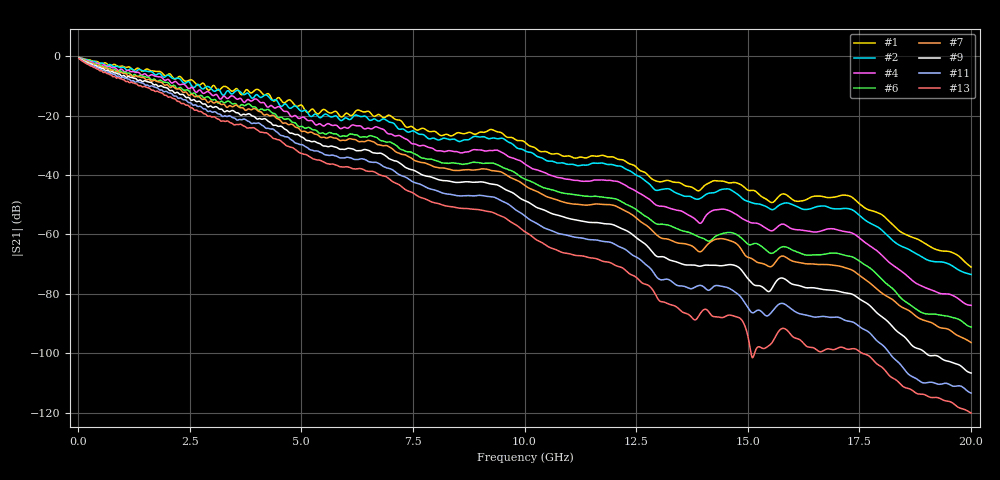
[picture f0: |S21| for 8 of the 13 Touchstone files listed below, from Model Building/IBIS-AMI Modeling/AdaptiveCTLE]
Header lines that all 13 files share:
# hz S ma R 100
! 2 Port Network Data from SP1.SP block
! freq  magS11  angS11  magS21  angS21  magS12  angS12  magS22  angS22
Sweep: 20 MHz to 20 GHz
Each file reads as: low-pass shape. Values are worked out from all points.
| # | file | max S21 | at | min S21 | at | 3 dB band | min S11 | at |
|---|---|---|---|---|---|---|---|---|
| 1 | Channel_1.s2p | -0.38 dB | 20 MHz | -71.0 dB | 20 GHz | 20 MHz-880 MHz | -35.6 dB | 14.84 GHz |
| 2 | Channel_2.s2p | -0.42 dB | 20 MHz | -73.5 dB | 20 GHz | 20 MHz-780 MHz | -44.5 dB | 14.5 GHz |
| 3 | Channel_3.s2p | -0.45 dB | 20 MHz | -80.4 dB | 20 GHz | 20 MHz-700 MHz | -42.3 dB | 3.18 GHz |
| 4 | Channel_4.s2p | -0.48 dB | 20 MHz | -83.9 dB | 20 GHz | 20 MHz-620 MHz | -40.8 dB | 300 MHz |
| 5 | Channel_5.s2p | -0.51 dB | 20 MHz | -87.5 dB | 20 GHz | 20 MHz-580 MHz | -44.0 dB | 10.52 GHz |
| 6 | Channel_6.s2p | -0.54 dB | 20 MHz | -91.2 dB | 20 GHz | 20 MHz-520 MHz | -46.1 dB | 13.24 GHz |
| 7 | Channel_7.s2p | -0.57 dB | 20 MHz | -96.4 dB | 20 GHz | 20 MHz-480 MHz | -52.8 dB | 11.6 GHz |
| 8 | Channel_8.s2p | -0.60 dB | 20 MHz | -100.3 dB | 20 GHz | 20 MHz-460 MHz | -39.4 dB | 10.76 GHz |
| 9 | Channel_9.s2p | -0.64 dB | 20 MHz | -106.7 dB | 20 GHz | 20 MHz-420 MHz | -47.1 dB | 11.24 GHz |
| 10 | Channel_10.s2p | -0.67 dB | 20 MHz | -110.1 dB | 20 GHz | 20 MHz-400 MHz | -42.9 dB | 1.82 GHz |
| 11 | Channel_11.s2p | -0.70 dB | 20 MHz | -113.4 dB | 20 GHz | 20 MHz-380 MHz | -35.8 dB | 10.94 GHz |
| 12 | Channel_12.s2p | -0.73 dB | 20 MHz | -116.1 dB | 20 GHz | 20 MHz-360 MHz | -44.1 dB | 2.58 GHz |
| 13 | Channel_13.s2p | -0.76 dB | 20 MHz | -120.1 dB | 20 GHz | 20 MHz-340 MHz | -39.3 dB | 2.44 GHz |
